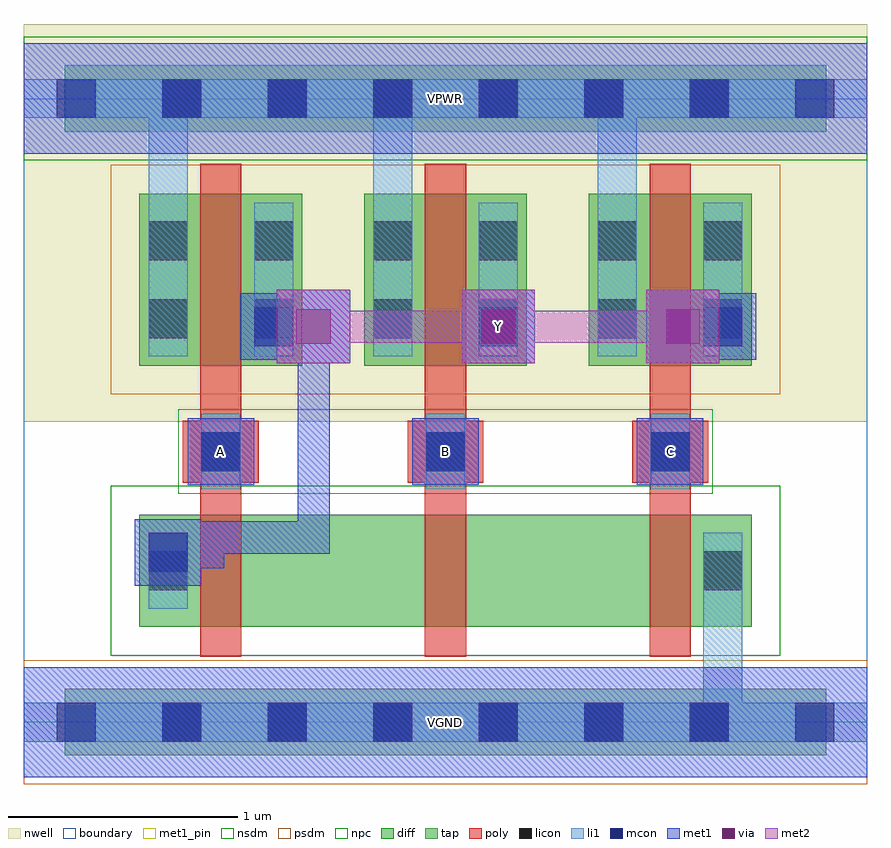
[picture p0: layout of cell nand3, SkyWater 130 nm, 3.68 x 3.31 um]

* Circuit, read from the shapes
.subckt nand3 A B C VGND VPWR Y
XM1 n1 A Y VGND sky130_fd_pr__nfet_01v8 w=0.49 l=0.18
XM2 n2 B n1 VGND sky130_fd_pr__nfet_01v8 w=0.49 l=0.18
XM3 VGND C n2 VGND sky130_fd_pr__nfet_01v8 w=0.49 l=0.18
XM4 Y A VPWR VPWR sky130_fd_pr__pfet_01v8 w=0.75 l=0.18
XM5 Y B VPWR VPWR sky130_fd_pr__pfet_01v8 w=0.75 l=0.18
XM6 Y C VPWR VPWR sky130_fd_pr__pfet_01v8 w=0.75 l=0.18
.ends

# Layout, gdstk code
import gdstk
lib = gdstk.Library(unit=1e-6, precision=1e-09)
def R(c, l, rs):  # rectangles x0, y0, x1, y1
    for r in rs: c.add(gdstk.rectangle(r[:2], r[2:], *l))
def A(c, l, x, y, w, h, nx, ny, dx, dy):  # array of equal rectangles
    R(c, l, [(x+i*dx, y+j*dy, x+i*dx+w, y+j*dy+h) for i in range(nx) for j in range(ny)])
nwell = (64, 20)
diff = (65, 20)
tap = (65, 44)
poly = (66, 20)
licon = (66, 44)
li1 = (67, 20)
mcon = (67, 44)
met1_pin = (68, 16)
met1 = (68, 20)
via = (68, 44)
met2 = (69, 20)
nsdm = (93, 44)
psdm = (94, 20)
npc = (95, 20)
boundary = (235, 4)

nand3 = lib.new_cell('nand3')
R(nand3, nwell, [(0,1.31,3.68,3.045)])
A(nand3, diff, 0.505, 1.555, 0.71, 0.75, 3, 1, 0.98, 0)
R(nand3, diff, [(0.505,0.415,3.175,0.905)])
R(nand3, tap, [(0.18,-0.145,3.5,0.145), (0.18,2.575,3.5,2.865)])
A(nand3, poly, 0.77, 0.285, 0.18, 2.15, 3, 1, 0.98, 0)
A(nand3, poly, 0.695, 1.045, 0.33, 0.27, 3, 1, 0.98, 0)
A(nand3, licon, 0.605, -0.085, 0.17, 0.17, 6, 2, 0.46, 2.72)
A(nand3, licon, 0.775, 1.095, 0.17, 0.17, 3, 1, 0.98, 0)
R(nand3, licon, [(0.545,0.575,0.715,0.745), (2.965,0.575,3.135,0.745), (0.545,1.675,0.715,1.845), (1.005,1.675,1.175,1.845), (1.525,1.675,1.695,1.845), (1.985,1.675,2.155,1.845), (2.505,1.675,2.675,1.845), (2.965,1.675,3.135,1.845), (0.545,2.015,0.715,2.185), (1.005,2.015,1.175,2.185), (1.525,2.015,1.695,2.185), (1.985,2.015,2.155,2.185), (2.505,2.015,2.675,2.185), (2.965,2.015,3.135,2.185)])
A(nand3, li1, 0.775, 1.015, 0.17, 0.33, 3, 1, 0.98, 0)
A(nand3, li1, 0.545, 1.595, 0.17, 1.21, 3, 1, 0.98, 0)
R(nand3, li1, [(0,-0.085,3.68,0.085), (2.965,-0.085,3.135,0.825), (0.545,0.495,0.715,0.825), (2.965,0.495,3.135,0.825), (0.545,1.595,0.715,2.265), (1.005,1.595,1.175,2.265), (1.525,1.595,1.695,2.265), (1.985,1.595,2.155,2.265), (2.505,1.595,2.675,2.265), (2.965,1.595,3.135,2.265), (0,2.635,3.68,2.805)])
A(nand3, mcon, 0.145, -0.085, 0.17, 0.17, 8, 2, 0.46, 2.72)
A(nand3, mcon, 0.775, 1.095, 0.17, 0.17, 3, 1, 0.98, 0)
A(nand3, mcon, 1.005, 1.64, 0.17, 0.17, 3, 1, 0.98, 0)
R(nand3, mcon, [(0.545,0.655,0.715,0.825)])
A(nand3, met1_pin, 0.715, 1.035, 0.29, 0.29, 3, 1, 0.98, 0)
R(nand3, met1_pin, [(0,-0.24,3.68,0.24), (1.91,1.565,2.23,1.885), (0,2.48,3.68,2.96)])
A(nand3, met1, 0.715, 1.035, 0.29, 0.29, 3, 1, 0.98, 0)
A(nand3, met1, 1.105, 1.565, 0.32, 0.32, 3, 1, 0.805, 0)
A(nand3, met1, 0.945, 1.58, 0.29, 0.29, 3, 1, 0.98, 0)
R(nand3, met1, [(0,-0.24,3.68,0.24), (0.485,0.595,0.775,0.885), (0.56,0.67,0.875,0.81), (0.735,0.67,0.875,0.875), (0.735,0.735,1.335,0.875), (1.195,0.735,1.335,1.795), (1.02,1.655,1.335,1.795), (2.805,1.655,3.12,1.795), (0,2.48,3.68,2.96)])
A(nand3, via, 1.19, 1.65, 0.15, 0.15, 3, 1, 0.805, 0)
A(nand3, met2, 1.105, 1.565, 0.32, 0.32, 3, 1, 0.805, 0)
R(nand3, met2, [(1.195,1.655,2.14,1.795), (2,1.655,2.945,1.795)])
R(nand3, nsdm, [(0.38,0.29,3.3,1.03), (0,2.45,3.68,2.99)])
R(nand3, psdm, [(0,-0.27,3.68,0.27), (0.38,1.43,3.3,2.43)])
R(nand3, npc, [(0.675,0.995,3.005,1.365)])
R(nand3, boundary, [(0,0,3.68,2.72)])
nand3.add(gdstk.Label('A', (0.86,1.18), layer=68, texttype=5))
nand3.add(gdstk.Label('B', (1.84,1.18), layer=68, texttype=5))
nand3.add(gdstk.Label('C', (2.82,1.18), layer=68, texttype=5))
nand3.add(gdstk.Label('Y', (2.07,1.725), layer=68, texttype=5))
nand3.add(gdstk.Label('VPWR', (1.84,2.72), layer=68, texttype=5))
nand3.add(gdstk.Label('VGND', (1.84,0), layer=68, texttype=5))
nand3.add(gdstk.Label('A', (0.86,1.18), layer=68, texttype=16))
nand3.add(gdstk.Label('B', (1.84,1.18), layer=68, texttype=16))
nand3.add(gdstk.Label('C', (2.82,1.18), layer=68, texttype=16))
nand3.add(gdstk.Label('Y', (2.07,1.725), layer=68, texttype=16))
nand3.add(gdstk.Label('VPWR', (1.84,2.72), layer=68, texttype=16))
nand3.add(gdstk.Label('VGND', (1.84,0), layer=68, texttype=16))

lib.write_gds('nand3.gds')
